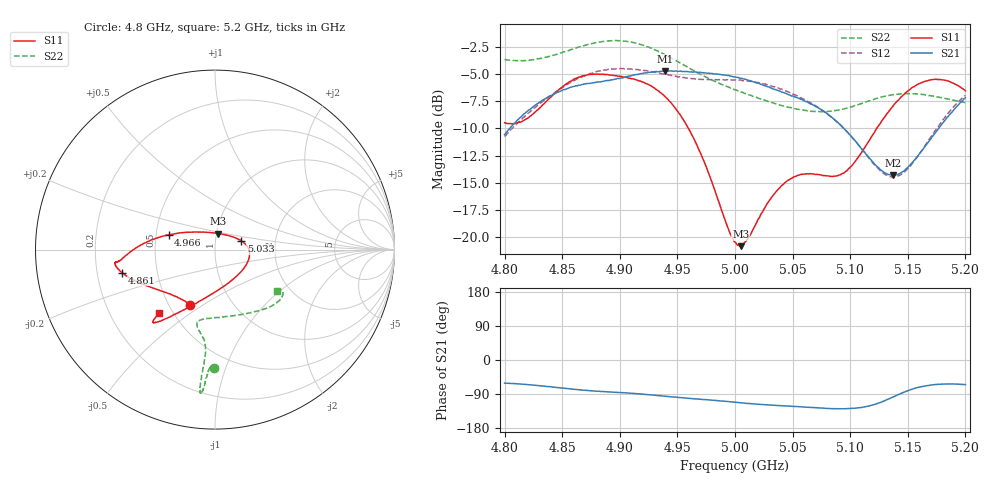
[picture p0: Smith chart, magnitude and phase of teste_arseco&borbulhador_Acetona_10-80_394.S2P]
! Network Analyzer HP8722D
! Hewlett-Packard
! Data name: Linha & Wilkinson
! Saver's name: Rodrigo Anjos
! Comments: Teste da utilização de aquisição
! continua pelo VNA HP8722D
! Time and date: 17/4/2025 17:38
!  Frequency  S11  S21  S12  S22
# HZ  S  MA R 50
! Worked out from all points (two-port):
!   401 points, 4.8 GHz to 5.2 GHz, reference 50 ohm
!   highest |S21| = -4.70 dB at 4.939 GHz (marker M1); lowest = -14.3 dB at 5.137 GHz (marker M2)
!   |S21| within 3 dB of the highest: 4.829 GHz to 5.065 GHz (236 MHz wide, 4.77 % of centre); 5.194923 GHz to end of sweep
!   lowest |S11| = -20.9 dB at 5.005 GHz (marker M3), VSWR 1.20, Z = 50.9 + j9.13 ohm
!   |S11| at or under -10 dB: 4.96 GHz to 5.123 GHz (163.4 MHz wide, 3.24 % of centre)
!   |S22| runs from -8.5 to -1.9 dB; largest |S21 - S12| = 0.87
!   S11 on the Smith chart (normalised r, x): 4.8 GHz: 0.64, -0.44; 4.861 GHz: 0.31, -0.11; 4.966 GHz: 0.58, +0.10; 5.033 GHz: 1.34, +0.13; 5.2 GHz: 0.42, -0.39
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4.8e9  0.3359 -114.3  0.2958 -61.0  0.29 -175.3  0.657 -90.4
4.819e9  0.3503 -134.2  0.3768 -64.7  0.3651 -174.2  0.652 -92.0
4.861e9  0.5353 -166.2  0.4949 -77.5  0.5285 -177.4  0.7387 -94.3
4.867e9  0.5502 -168.6  0.5036 -79.3  0.5465 -178.4  0.7573 -94.4
4.9e9  0.5497 -172.9  0.5377 -85.8  0.5962 174.8  0.802 -95.8
4.934e9  0.4691 -178.7  0.5773 -94.2  0.5697 171.5  0.7128 -96.1
4.939e9  0.4448 179.2  0.5824 -95.5  0.5627 171.2  0.6929 -96.0
4.953e9  0.3615 171.7  0.5807 -99.1  0.5441 172.0  0.6313 -95.4
4.966e9  0.2714 162.4  0.5754 -102.5  0.5347 173.4  0.5758 -95.3
5e9  0.09456 98.0  0.5465 -111.6  0.5297 175.8  0.4764 -99.3
5.005e9  0.09059 79.1  0.5381 -113.0  0.5282 175.7  0.4652 -100.5
5.012e9  0.09962 55.8  0.5255 -114.6  0.522 175.4  0.4525 -101.9
5.033e9  0.1552 18.1  0.4817 -119.5  0.4921 174.3  0.4145 -103.5
5.049e9  0.1862 2.1  0.446 -121.9  0.4583 173.7  0.3933 -99.7
5.067e9  0.1951 -17.2  0.4084 -125.3  0.4109 173.4  0.3795 -90.0
5.096e9  0.2005 -67.8  0.3103 -128.6  0.3103 174.5  0.3909 -67.4
5.122e9  0.3102 -108.4  0.2142 -116.6  0.2121 -171.1  0.4337 -49.3
5.134e9  0.3817 -117.9  0.1935 -102.1  0.19 -155.2  0.4494 -43.0
5.137e9  0.3996 -119.6  0.1921 -98.2  0.1887 -150.3  0.4523 -41.8
5.15e9  0.4702 -125.3  0.209 -81.1  0.206 -130.7  0.4576 -36.9
5.17e9  0.5296 -129.8  0.2832 -66.0  0.2888 -112.2  0.4478 -32.3
5.2e9  0.471 -131.2  0.4379 -65.0  0.4502 -107.1  0.4163 -33.7
